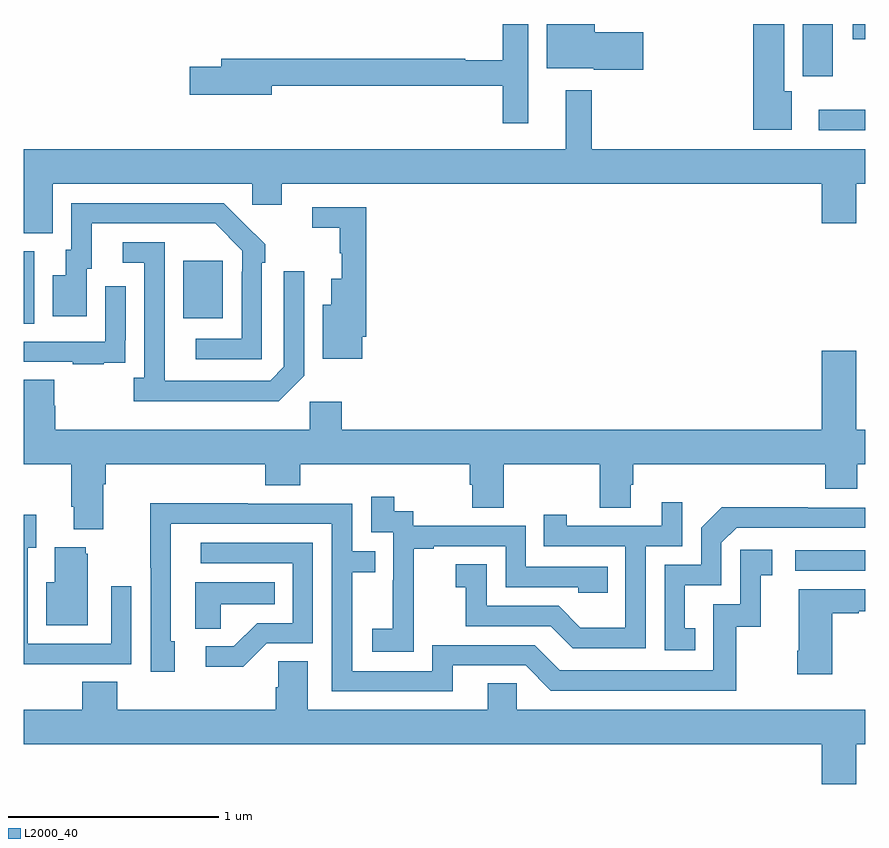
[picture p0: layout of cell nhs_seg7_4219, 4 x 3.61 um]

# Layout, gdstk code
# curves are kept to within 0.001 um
import gdstk
lib = gdstk.Library(unit=1e-6, precision=1e-09)
def R(c, l, rs):  # rectangles x0, y0, x1, y1
    for r in rs: c.add(gdstk.rectangle(r[:2], r[2:], *l))
def P(c, l, *ps):  # polygons
    for p in ps: c.add(gdstk.Polygon(p, *l))
L2000_40 = (2000, 40)

nhs_seg7_4219 = lib.new_cell('nhs_seg7_4219')
R(nhs_seg7_4219, L2000_40, [(380.667,1041.402,381,1041.498), (377,1042.576,377.05,1042.92), (377.759,1042.601,377.947,1042.876), (380.778,1043.496,381,1043.592), (380.702,1043.751,380.845,1044), (380.94,1043.927,381,1044)])
P(nhs_seg7_4219, L2000_40, [(379.945,1043.96),(379.714,1043.96),(379.714,1044),(379.487,1044),(379.487,1043.789),(379.71,1043.789),(379.71,1043.782),(379.945,1043.782)],
  [(379.399,1044),(379.278,1044),(379.278,1043.827),(379.099,1043.827),(379.099,1043.834),(377.939,1043.834),(377.939,1043.798),(377.79,1043.798),(377.79,1043.663),(378.178,1043.663),(378.178,1043.706),(379.278,1043.706),(379.278,1043.529),(379.399,1043.529)],
  [(380.65,1043.68),(380.614,1043.68),(380.614,1044),(380.468,1044),(380.468,1043.498),(380.65,1043.498)],
  [(377.137,1043.24),(378.087,1043.24),(378.087,1043.142),(378.226,1043.142),(378.226,1043.24),(380.792,1043.24),(380.792,1043.052),(380.956,1043.052),(380.956,1043.24),(381,1043.24),(381,1043.404),(379.699,1043.404),(379.699,1043.686),(379.577,1043.686),(379.577,1043.404),(377,1043.404),(377,1043.005),(377.137,1043.005)],
  [(378.132,1042.865),(378.147,1042.865),(378.147,1042.953),(377.95,1043.148),(377.226,1043.148),(377.226,1042.926),(377.201,1042.926),(377.201,1042.807),(377.138,1042.807),(377.138,1042.611),(377.299,1042.611),(377.299,1042.836),(377.323,1042.836),(377.323,1043.052),(377.911,1043.052),(378.039,1042.923),(378.039,1042.823),(378.036,1042.823),(378.036,1042.503),(377.817,1042.503),(377.817,1042.407),(378.132,1042.407)],
  [(378.61,1042.513),(378.629,1042.513),(378.629,1043.13),(378.372,1043.13),(378.372,1043.032),(378.501,1043.032),(378.501,1042.911),(378.512,1042.911),(378.512,1042.789),(378.461,1042.789),(378.461,1042.666),(378.422,1042.666),(378.422,1042.409),(378.61,1042.409)],
  [(378.333,1042.329),(378.333,1042.825),(378.237,1042.825),(378.237,1042.371),(378.171,1042.305),(377.671,1042.305),(377.67,1042.962),(377.472,1042.962),(377.472,1042.866),(377.574,1042.866),(377.574,1042.318),(377.523,1042.318),(377.523,1042.208),(378.212,1042.208)],
  [(377.381,1042.389),(377.483,1042.389),(377.483,1042.498),(377.484,1042.498),(377.484,1042.753),(377.388,1042.753),(377.388,1042.491),(377,1042.491),(377,1042.395),(377.233,1042.395),(377.233,1042.382),(377.381,1042.382)],
  [(377.377,1041.812),(377.39,1041.812),(377.39,1041.908),(378.149,1041.908),(378.149,1041.809),(378.314,1041.809),(378.314,1041.908),(379.121,1041.908),(379.121,1041.81),(379.133,1041.81),(379.133,1041.7),(379.281,1041.7),(379.281,1041.908),(379.738,1041.908),(379.738,1041.7),(379.885,1041.7),(379.885,1041.81),(379.898,1041.81),(379.898,1041.908),(380.81,1041.908),(380.81,1041.791),(380.962,1041.791),(380.962,1041.908),(381,1041.908),(381,1042.072),(380.956,1042.072),(380.956,1042.447),(380.792,1042.447),(380.792,1042.072),(378.512,1042.072),(378.512,1042.204),(378.36,1042.204),(378.36,1042.072),(377.15,1042.072),(377.15,1042.185),(377.145,1042.185),(377.145,1042.31),(377,1042.31),(377,1041.908),(377.225,1041.908),(377.225,1041.706),(377.237,1041.706),(377.237,1041.599),(377.377,1041.599)],
  [(378.855,1041.223),(378.854,1041.223),(378.854,1041.507),(378.949,1041.507),(378.949,1041.519),(379.29,1041.519),(379.29,1041.324),(379.635,1041.324),(379.635,1041.297),(379.775,1041.297),(379.775,1041.42),(379.386,1041.42),(379.386,1041.615),(378.852,1041.615),(378.852,1041.684),(378.76,1041.684),(378.76,1041.754),(378.651,1041.754),(378.651,1041.585),(378.756,1041.585),(378.756,1041.356),(378.755,1041.356),(378.755,1041.127),(378.657,1041.127),(378.657,1041.017),(378.855,1041.017)],
  [(379.956,1041.519),(380.13,1041.519),(380.13,1041.727),(380.033,1041.727),(380.033,1041.615),(379.582,1041.615),(379.582,1041.667),(379.471,1041.667),(379.471,1041.519),(379.86,1041.519),(379.86,1041.13),(379.646,1041.13),(379.542,1041.234),(379.2,1041.234),(379.2,1041.433),(379.053,1041.433),(379.053,1041.323),(379.102,1041.323),(379.102,1041.138),(379.505,1041.138),(379.61,1041.033),(379.956,1041.033)],
  [(379.039,1040.952),(379.386,1040.952),(379.506,1040.832),(380.386,1040.832),(380.386,1041.135),(380.504,1041.135),(380.504,1041.381),(380.557,1041.381),(380.557,1041.502),(380.406,1041.502),(380.406,1041.243),(380.277,1041.243),(380.277,1040.928),(379.548,1040.928),(379.428,1041.048),(378.942,1041.048),(378.942,1040.925),(378.561,1040.925),(378.561,1041.394),(378.671,1041.394),(378.671,1041.495),(378.561,1041.495),(378.561,1041.72),(378.065,1041.72),(378.065,1041.722),(377.602,1041.722),(377.602,1041.415),(377.604,1041.415),(377.604,1040.922),(377.719,1040.922),(377.719,1041.066),(377.7,1041.066),(377.7,1041.624),(378.465,1041.624),(378.465,1040.829),(379.039,1040.829)],
  [(380.192,1041.129),(380.143,1041.129),(380.143,1041.333),(380.316,1041.333),(380.316,1041.534),(380.388,1041.606),(381,1041.606),(381,1041.702),(380.726,1041.702),(380.726,1041.704),(380.318,1041.704),(380.22,1041.606),(380.22,1041.429),(380.046,1041.429),(380.046,1041.024),(380.192,1041.024)],
  [(377.195,1040.958),(377.511,1040.958),(377.511,1041.328),(377.415,1041.328),(377.415,1041.054),(377.019,1041.054),(377.019,1041.511),(377.059,1041.511),(377.059,1041.667),(377,1041.667),(377,1040.957),(377.195,1040.957)],
  [(378.156,1041.057),(378.375,1041.057),(378.375,1041.534),(377.841,1041.534),(377.841,1041.438),(378.279,1041.438),(378.279,1041.153),(378.11,1041.153),(377.999,1041.042),(377.865,1041.042),(377.865,1040.945),(378.043,1040.945)],
  [(377.305,1041.483),(377.294,1041.483),(377.294,1041.514),(377.147,1041.514),(377.147,1041.346),(377.108,1041.346),(377.108,1041.143),(377.305,1041.143)],
  [(377.937,1041.242),(378.194,1041.242),(378.194,1041.346),(377.816,1041.346),(377.816,1041.127),(377.937,1041.127)],
  [(380.842,1041.199),(380.969,1041.199),(380.969,1041.209),(381,1041.209),(381,1041.313),(380.684,1041.313),(380.684,1041.022),(380.677,1041.022),(380.677,1040.91),(380.842,1040.91)],
  [(380.956,1040.576),(381,1040.576),(381,1040.74),(379.344,1040.74),(379.344,1040.867),(379.205,1040.867),(379.205,1040.74),(378.349,1040.74),(378.349,1040.972),(378.21,1040.972),(378.21,1040.849),(378.197,1040.849),(378.197,1040.74),(377.444,1040.74),(377.444,1040.873),(377.279,1040.873),(377.279,1040.74),(377,1040.74),(377,1040.576),(380.792,1040.576),(380.792,1040.388),(380.956,1040.388)])

lib.write_gds('nhs_seg7_4219.gds')
